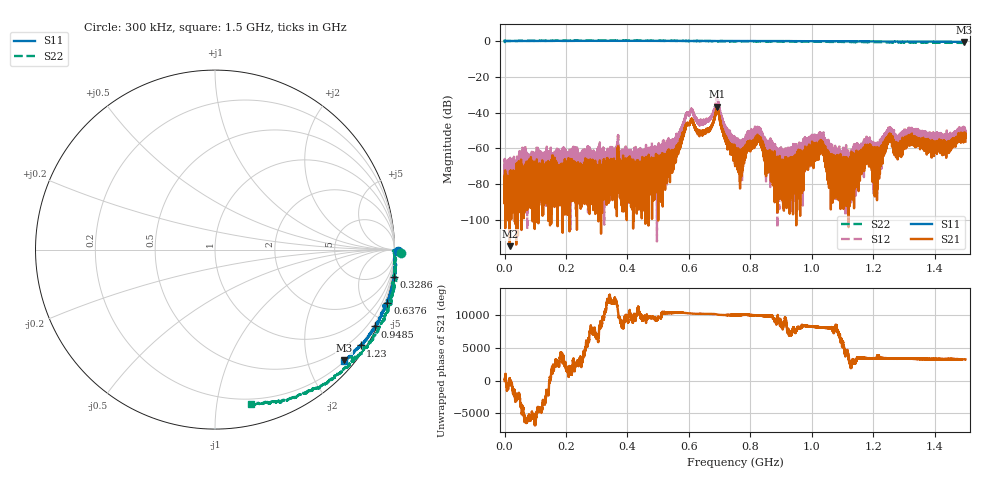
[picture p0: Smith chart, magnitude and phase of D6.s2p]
!Agilent Technologies,N5230C,SG49000117,A.08.50.07
!Agilent N5230C: A.08.50.07
!Date: Thursday, December 07, 2023 06:10:34
!Correction: S11(Full 2 Port(1,2))
!S21(Full 2 Port(1,2))
!S12(Full 2 Port(1,2))
!S22(Full 2 Port(1,2))
!S2P File: Measurements: S11, S21, S12, S22:
# Hz S  RI  R 50
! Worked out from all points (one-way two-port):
!   20001 points, 300 kHz to 1.5 GHz, reference 50 ohm
!   highest |S21| = -36.60 dB at 692.5 MHz (marker M1); lowest = -114.5 dB at 17.1 MHz (marker M2)
!   lowest |S11| = -0.5 dB at 1.497 GHz (marker M3), VSWR 36.36, Z = 11.4 - j134 ohm
!   |S11| at or under -10 dB: nowhere
!   |S22| runs from -1.1 to 0.3 dB; largest |S21 - S12| = 0.014
!   S11 on the Smith chart (normalised r, x): 300 kHz: -83, -46; 328.6 MHz: -1, -13; 637.6 MHz: -0.12, -6.60; 948.5 MHz: 0.11, -4.39; 1.23 GHz: 0.18, -3.33; 1.5 GHz: 0.21, -2.68
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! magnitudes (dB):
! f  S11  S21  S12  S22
! 300 kHz  0.2  -75.9  -68.8  0.3
! 17.1 MHz  0.0  -114.5  -78.7  0.0
! 250.3 MHz  0.1  -76.6  -68.1  0.2
! 328.6 MHz  0.1  -78.2  -67.5  0.2
! 500.2 MHz  0.1  -68.8  -66.6  0.1
! 549.7 MHz  0.1  -66.2  -58.8  0.1
! 603.3 MHz  0.0  -46.5  -40.7  0.0
! 637.6 MHz  0.0  -51.5  -45.3  0.0
! 692.5 MHz  -0.1  -36.6  -31.5  -0.3
! 750.1 MHz  0.0  -63.4  -56.6  -0.1
! 770.5 MHz  0.0  -67.8  -60.9  -0.2
! 825.1 MHz  -0.1  -53.6  -48.9  -0.2
! 889.9 MHz  -0.1  -72.3  -62.5  -0.3
! 948.5 MHz  -0.1  -66.0  -61.8  -0.4
! 1 GHz  -0.1  -64.1  -58.5  -0.4
! 1.033 GHz  -0.1  -57.3  -52.7  -0.5
! 1.074 GHz  -0.1  -64.9  -72.2  -0.5
! 1.114 GHz  -0.2  -77.6  -63.4  -0.6
! 1.23 GHz  -0.3  -63.8  -56.6  -0.7
! 1.25 GHz  -0.3  -55.6  -49.2  -0.7
! 1.497 GHz  -0.5  -53.5  -48.8  -1.1
! 1.5 GHz  -0.4  -56.2  -49.5  -1.1
